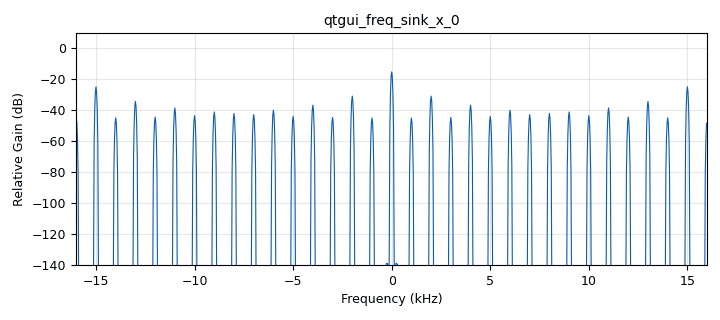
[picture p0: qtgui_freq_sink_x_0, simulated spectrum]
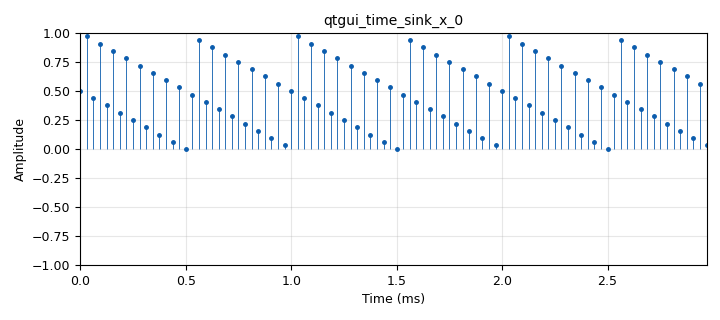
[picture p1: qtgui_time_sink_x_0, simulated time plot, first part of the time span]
options:
  parameters:
    author: Diego_Espinel__Diego_Garcia_G1C_02
    generate_options: qt_gui
    id: Lab1_punto2
    output_language: python
    title: Lab1_Punto2_Muestreo
  states: {}

blocks:
- name: frecuency
  id: variable_qtgui_range
  parameters:
    start: '1000'
    step: '1000'
    stop: '40000'
    value: '2000'
  states: {}
- name: samp_rate
  id: variable
  parameters:
    value: '32000'
  states: {}
- name: analog_sig_source_x_0
  id: analog_sig_source_x
  parameters:
    amp: '1'
    freq: '15000'
    offset: '0'
    phase: '0'
    samp_rate: samp_rate
    type: float
    waveform: analog.GR_SAW_WAVE
  states: {}
- name: blocks_throttle_0
  id: blocks_throttle
  parameters:
    samples_per_second: samp_rate
    type: float
  states: {}
- name: qtgui_freq_sink_x_0
  id: qtgui_freq_sink_x
  parameters:
    bw: samp_rate
    fc: '0'
    fftsize: '1024'
    type: float
  states: {}
- name: qtgui_time_sink_x_0
  id: qtgui_time_sink_x
  parameters:
    size: '1024'
    srate: samp_rate
    stemplot: 'True'
    type: float
  states: {}

connections:
- [analog_sig_source_x_0, '0', blocks_throttle_0, '0']
- [blocks_throttle_0, '0', qtgui_freq_sink_x_0, '0']
- [blocks_throttle_0, '0', qtgui_time_sink_x_0, '0']

metadata:
  file_format: 1
  grc_version: 3.10.5.1
